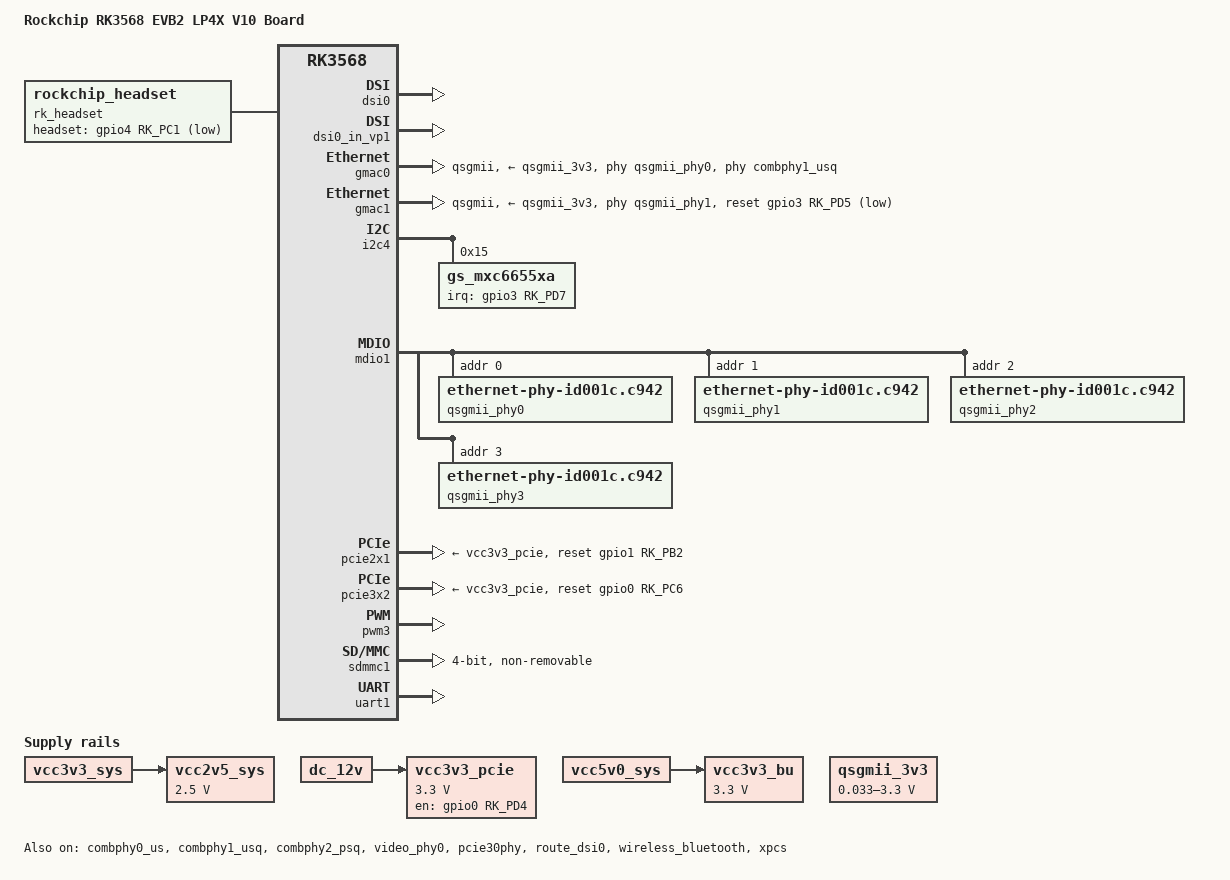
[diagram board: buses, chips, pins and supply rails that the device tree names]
// SPDX-License-Identifier: (GPL-2.0+ OR MIT)
/*
 * Copyright (c) 2020 Rockchip Electronics Co., Ltd.
 *
 */

/dts-v1/;

#include <dt-bindings/gpio/gpio.h>
#include <dt-bindings/pinctrl/rockchip.h>
#include "rk3568.dtsi"
#include "rk3568-evb.dtsi"

/ {
	model = "Rockchip RK3568 EVB2 LP4X V10 Board";
	compatible = "rockchip,rk3568-evb2-lp4x-v10", "rockchip,rk3568";

	rk_headset: rk-headset {
		compatible = "rockchip_headset";
		headset_gpio = <&gpio4 RK_PC1 GPIO_ACTIVE_LOW>;
		pinctrl-names = "default";
		pinctrl-0 = <&hp_det>;
	};

	vcc2v5_sys: vcc2v5-ddr {
		compatible = "regulator-fixed";
		regulator-name = "vcc2v5-sys";
		regulator-always-on;
		regulator-boot-on;
		regulator-min-microvolt = <2500000>;
		regulator-max-microvolt = <2500000>;
		vin-supply = <&vcc3v3_sys>;
	};

	vcc3v3_pcie: gpio-regulator {
		compatible = "regulator-fixed";
		regulator-name = "vcc3v3_pcie";
		regulator-min-microvolt = <3300000>;
		regulator-max-microvolt = <3300000>;
		enable-active-high;
		gpio = <&gpio0 RK_PD4 GPIO_ACTIVE_HIGH>;
		startup-delay-us = <5000>;
		vin-supply = <&dc_12v>;
	};

	qsgmii_3v3: gpio-regulator {
		compatible = "regulator-gpio";
		regulator-name = "qsgmii_3v3";
		regulator-min-microvolt = <0100000>;
		regulator-max-microvolt = <3300000>;
		gpios = <&gpio0 RK_PB7 GPIO_ACTIVE_HIGH>;
		gpios-states = <0x1>;
		states = <0100000 0x0
			  3300000 0x1>;
	};

	vcc3v3_bu: vcc3v3-bu {
		compatible = "regulator-fixed";
		regulator-name = "vcc3v3_bu";
		regulator-always-on;
		regulator-boot-on;
		regulator-min-microvolt = <3300000>;
		regulator-max-microvolt = <3300000>;
		vin-supply = <&vcc5v0_sys>;
	};
};

&combphy0_us {
	status = "okay";
};

&combphy1_usq {
	status = "okay";
};

&combphy2_psq {
	status = "okay";
};

/*
 * video_phy0 needs to be enabled
 * when dsi0 is enabled
 */
&dsi0 {
	status = "okay";
};

&dsi0_in_vp0 {
	status = "disabled";
};

&dsi0_in_vp1 {
	status = "okay";
};

&dsi0_panel {
	power-supply = <&vcc3v3_lcd0_n>;
};

/*
 * video_phy1 needs to be enabled
 * when dsi1 is enabled
 */
&dsi1 {
	status = "disabled";
};

&dsi1_in_vp0 {
	status = "disabled";
};

&dsi1_in_vp1 {
	status = "disabled";
};

&dsi1_panel {
	power-supply = <&vcc3v3_lcd1_n>;
};

&gmac0 {
	phy-supply = <&qsgmii_3v3>;
	phy-mode = "qsgmii";
	rockchip,xpcs = <&xpcs>;

	assigned-clocks = <&cru SCLK_GMAC0_RX_TX>;
	assigned-clock-parents = <&gmac0_xpcsclk>;

	power-domains = <&power RK3568_PD_PIPE>;
	phys = <&combphy1_usq PHY_TYPE_QSGMII>;
	phy-handle = <&qsgmii_phy0>;

	status = "okay";
};

&gmac1 {
	phy-supply = <&qsgmii_3v3>;
	phy-mode = "qsgmii";

	snps,reset-gpio = <&gpio3 RK_PD5 GPIO_ACTIVE_LOW>;
	snps,reset-active-low;
	/* Reset time is 20ms, 100ms for rtl8211f */
	snps,reset-delays-us = <0 20000 100000>;

	assigned-clocks = <&cru SCLK_GMAC1_RX_TX>;
	assigned-clock-parents = <&gmac1_xpcsclk>;

	pinctrl-names = "default";
	pinctrl-0 = <&gmac1m1_miim>;

	power-domains = <&power RK3568_PD_PIPE>;
	phy-handle = <&qsgmii_phy1>;

	status = "okay";
};

/*
 * power-supply should switche to vcc3v3_lcd1_n
 * when mipi panel is connected to dsi1.
 */
&gt1x {
	power-supply = <&vcc3v3_lcd0_n>;
};

&i2c4 {
	status = "okay";

	gs_mxc6655xa: gs_mxc6655xa@15 {
		status = "okay";
		compatible = "gs_mxc6655xa";
		pinctrl-names = "default";
		pinctrl-0 = <&mxc6655xa_irq_gpio>;
		reg = <0x15>;
		irq-gpio = <&gpio3 RK_PD7 IRQ_TYPE_LEVEL_LOW>;
		irq_enable = <0>;
		poll_delay_ms = <30>;
		type = <SENSOR_TYPE_ACCEL>;
		power-off-in-suspend = <1>;
		layout = <1>;
	};
};

&i2c5 {
	status = "disabled";
};

&mdio1 {
	qsgmii_phy0: phy@0 {
		compatible = "ethernet-phy-id001c.c942", "ethernet-phy-ieee802.3-c22";
		reg = <0x0>;
	};
	qsgmii_phy1: phy@1 {
		compatible = "ethernet-phy-id001c.c942", "ethernet-phy-ieee802.3-c22";
		reg = <0x1>;
	};
	qsgmii_phy2: phy@2 {
		compatible = "ethernet-phy-id001c.c942", "ethernet-phy-ieee802.3-c22";
		reg = <0x2>;
	};
	qsgmii_phy3: phy@3 {
		compatible = "ethernet-phy-id001c.c942", "ethernet-phy-ieee802.3-c22";
		reg = <0x3>;
	};
};

&video_phy0 {
	status = "okay";
};

&video_phy1 {
	status = "disabled";
};

&pcie2x1 {
	reset-gpios = <&gpio1 RK_PB2 GPIO_ACTIVE_HIGH>;
	vpcie3v3-supply = <&vcc3v3_pcie>;
	status = "okay";
};

&pcie30phy {
	status = "okay";
};

&pcie3x2 {
	reset-gpios = <&gpio0 RK_PC6 GPIO_ACTIVE_HIGH>;
	vpcie3v3-supply = <&vcc3v3_pcie>;
	status = "okay";
};

&pinctrl {
	headphone {
		hp_det: hp-det {
			rockchip,pins = <4 RK_PC1 RK_FUNC_GPIO &pcfg_pull_down>;
		};
	};

	mxc6655xa {
		mxc6655xa_irq_gpio: mxc6655xa_irq_gpio {
			rockchip,pins = <3 RK_PD7 RK_FUNC_GPIO &pcfg_pull_none>;
		};
	};

	sii902x {
		sii902x_hdmi_int: sii902x-hdmi-int {
			rockchip,pins = <3 RK_PA0 RK_FUNC_GPIO &pcfg_pull_up>;
		};
	};

	sdio-pwrseq {
		wifi_enable_h: wifi-enable-h {
			rockchip,pins = <2 RK_PB1 RK_FUNC_GPIO &pcfg_pull_none>;
		};

		wifi_32k: wifi-32k {
			rockchip,pins = <2 RK_PC6 1 &pcfg_pull_none>;
		};
	};

	wireless-wlan {
		wifi_host_wake_irq: wifi-host-wake-irq {
			rockchip,pins = <2 RK_PB2 RK_FUNC_GPIO &pcfg_pull_down>;
		};
	};

	wireless-bluetooth {
		uart1_gpios: uart1-gpios {
			rockchip,pins = <2 RK_PB5 RK_FUNC_GPIO &pcfg_pull_none>;
		};
	};
};

&pmu_io_domains {
	vccio6-supply = <&vcc_3v3>;
};

&pwm3 {
	status = "okay";

	compatible = "rockchip,remotectl-pwm";
	remote_pwm_id = <3>;
	handle_cpu_id = <1>;
	remote_support_psci = <0>;
	pinctrl-names = "default";
	pinctrl-0 = <&pwm3_pins>;

	ir_key1 {
		rockchip,usercode = <0x4040>;
		rockchip,key_table =
			<0xf2	KEY_REPLY>,
			<0xba	KEY_BACK>,
			<0xf4	KEY_UP>,
			<0xf1	KEY_DOWN>,
			<0xef	KEY_LEFT>,
			<0xee	KEY_RIGHT>,
			<0xbd	KEY_HOME>,
			<0xea	KEY_VOLUMEUP>,
			<0xe3	KEY_VOLUMEDOWN>,
			<0xe2	KEY_SEARCH>,
			<0xb2	KEY_POWER>,
			<0xbc	KEY_MUTE>,
			<0xec	KEY_MENU>,
			<0xbf	0x190>,
			<0xe0	0x191>,
			<0xe1	0x192>,
			<0xe9	183>,
			<0xe6	248>,
			<0xe8	185>,
			<0xe7	186>,
			<0xf0	388>,
			<0xbe	0x175>;
	};

	ir_key2 {
		rockchip,usercode = <0xff00>;
		rockchip,key_table =
			<0xf9	KEY_HOME>,
			<0xbf	KEY_BACK>,
			<0xfb	KEY_MENU>,
			<0xaa	KEY_REPLY>,
			<0xb9	KEY_UP>,
			<0xe9	KEY_DOWN>,
			<0xb8	KEY_LEFT>,
			<0xea	KEY_RIGHT>,
			<0xeb	KEY_VOLUMEDOWN>,
			<0xef	KEY_VOLUMEUP>,
			<0xf7	KEY_MUTE>,
			<0xe7	KEY_POWER>,
			<0xfc	KEY_POWER>,
			<0xa9	KEY_VOLUMEDOWN>,
			<0xa8	KEY_VOLUMEDOWN>,
			<0xe0	KEY_VOLUMEDOWN>,
			<0xa5	KEY_VOLUMEDOWN>,
			<0xab	183>,
			<0xb7	388>,
			<0xe8	388>,
			<0xf8	184>,
			<0xaf	185>,
			<0xed	KEY_VOLUMEDOWN>,
			<0xee	186>,
			<0xb3	KEY_VOLUMEDOWN>,
			<0xf1	KEY_VOLUMEDOWN>,
			<0xf2	KEY_VOLUMEDOWN>,
			<0xf3	KEY_SEARCH>,
			<0xb4	KEY_VOLUMEDOWN>,
			<0xbe	KEY_SEARCH>;
	};

	ir_key3 {
		rockchip,usercode = <0x1dcc>;
		rockchip,key_table =
			<0xee	KEY_REPLY>,
			<0xf0	KEY_BACK>,
			<0xf8	KEY_UP>,
			<0xbb	KEY_DOWN>,
			<0xef	KEY_LEFT>,
			<0xed	KEY_RIGHT>,
			<0xfc	KEY_HOME>,
			<0xf1	KEY_VOLUMEUP>,
			<0xfd	KEY_VOLUMEDOWN>,
			<0xb7	KEY_SEARCH>,
			<0xff	KEY_POWER>,
			<0xf3	KEY_MUTE>,
			<0xbf	KEY_MENU>,
			<0xf9	0x191>,
			<0xf5	0x192>,
			<0xb3	388>,
			<0xbe	KEY_1>,
			<0xba	KEY_2>,
			<0xb2	KEY_3>,
			<0xbd	KEY_4>,
			<0xf9	KEY_5>,
			<0xb1	KEY_6>,
			<0xfc	KEY_7>,
			<0xf8	KEY_8>,
			<0xb0	KEY_9>,
			<0xb6	KEY_0>,
			<0xb5	KEY_BACKSPACE>;
	};
};

&pwm7 {
	status = "disabled";
};

&route_dsi0 {
	status = "okay";
	connect = <&vp1_out_dsi0>;
};

&sdio_pwrseq {
	clocks = <&pmucru CLK_RTC_32K>;
	pinctrl-0 = <&wifi_enable_h &wifi_32k>;

	/*
	 * On the module itself this is one of these (depending
	 * on the actual card populated):
	 * - SDIO_RESET_L_WL_REG_ON
	 * - PDN (power down when low)
	 */
	reset-gpios = <&gpio2 RK_PB1 GPIO_ACTIVE_LOW>;
};

&sdmmc1 {
	max-frequency = <150000000>;
	no-sd;
	no-mmc;
	bus-width = <4>;
	disable-wp;
	cap-sd-highspeed;
	cap-sdio-irq;
	keep-power-in-suspend;
	mmc-pwrseq = <&sdio_pwrseq>;
	non-removable;
	pinctrl-names = "default";
	pinctrl-0 = <&sdmmc1_bus4 &sdmmc1_cmd &sdmmc1_clk>;
	sd-uhs-sdr104;
	status = "okay";
};

&sdmmc2 {
	status = "disabled";
};

&uart1 {
	status = "okay";
	pinctrl-names = "default";
	pinctrl-0 = <&uart1m0_xfer &uart1m0_ctsn>;
};

&vcc3v3_lcd0_n {
	gpio = <&gpio0 RK_PC7 GPIO_ACTIVE_HIGH>;
	enable-active-high;
};

&vcc3v3_lcd1_n {
	gpio = <&gpio0 RK_PC5 GPIO_ACTIVE_HIGH>;
	enable-active-high;
};

&wireless_wlan {
	pinctrl-names = "default";
	pinctrl-0 = <&wifi_host_wake_irq>;
	WIFI,host_wake_irq = <&gpio2 RK_PB2 GPIO_ACTIVE_HIGH>;
	WIFI,poweren_gpio = <&gpio2 RK_PB1 GPIO_ACTIVE_HIGH>;
};

&wireless_bluetooth {
	compatible = "bluetooth-platdata";
	clocks = <&pmucru CLK_RTC_32K>;
	clock-names = "ext_clock";
	//wifi-bt-power-toggle;
	uart_rts_gpios = <&gpio2 RK_PB5 GPIO_ACTIVE_LOW>;
	pinctrl-names = "default", "rts_gpio";
	pinctrl-0 = <&uart1m0_rtsn>;
	pinctrl-1 = <&uart1_gpios>;
	BT,reset_gpio    = <&gpio2 RK_PB7 GPIO_ACTIVE_HIGH>;
	BT,wake_gpio     = <&gpio2 RK_PC1 GPIO_ACTIVE_HIGH>;
	BT,wake_host_irq = <&gpio2 RK_PC0 GPIO_ACTIVE_HIGH>;
	status = "okay";
};

&xpcs {
	status = "okay";
};
